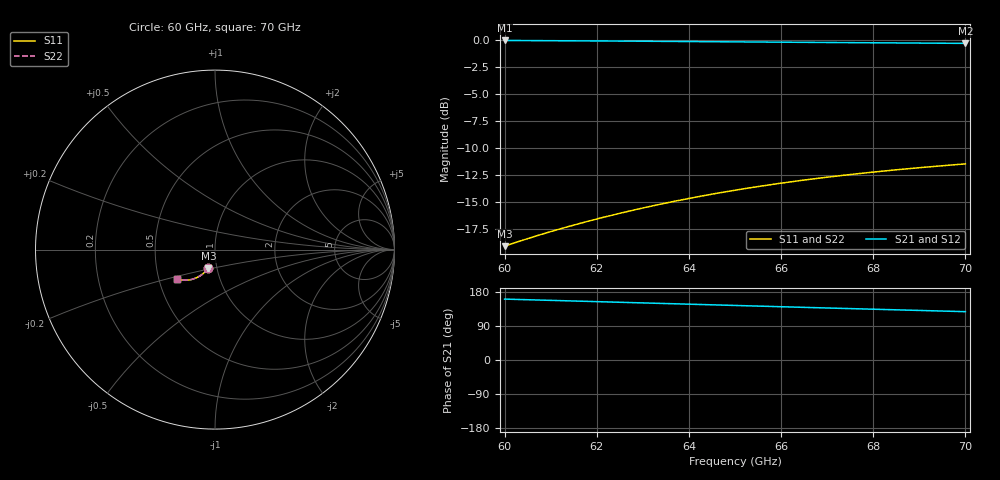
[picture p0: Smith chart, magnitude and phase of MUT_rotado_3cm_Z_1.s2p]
! TOUCHSTONE file generated by CST MICROWAVE STUDIO
! Date and time: Sat Feb 24 20:43:22 2024
! Project name: material_angular.cst
! Parameters = {Z=0; Y=2}
! Header version: 2018
! Port assignment regex: !\s*Touchstone port\s*([0-9]+)\s*=\s*(CST MWS port|CST DS port)\s*([0-9]+|Zmin|Zmax)\s*\(\"(.*)\"\)(\s*mode\s*([0-9]+))?.*
! Touchstone port assignment:
! Touchstone port 1 = CST MWS port 1 ("")
! Touchstone port 2 = CST MWS port 2 ("")
# GHz S MA R 376.7
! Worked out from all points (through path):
!   1001 points, 60 GHz to 70 GHz, reference 376.7 ohm
!   highest |S21| = -0.05 dB at 60 GHz (marker M1); lowest = -0.3 dB at 70 GHz (marker M2)
!   group delay of S21, straight-line fit = 9.23 ps
!   lowest |S11| = -19.1 dB at 60 GHz (marker M3), VSWR 1.25, Z = 343 - j72.9 ohm
!   |S11| at or under -10 dB: start of sweep to end of sweep
!   |S22| runs from -19.1 to -11.5 dB; largest |S21 - S12| = 0.00038
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60  0.1113 -109.3  0.9939 160.7  0.9937 160.7  0.1114 -109.2
60.05  0.1123 -109.5  0.9938 160.6  0.9936 160.6  0.1124 -109.4
60.45  0.1197 -110.9  0.9929 159.2  0.9927 159.2  0.1198 -110.7
60.87  0.1275 -112.4  0.9918 157.8  0.9918 157.8  0.1276 -112.0
61.26  0.1348 -113.7  0.9908 156.4  0.9909 156.5  0.1349 -113.3
61.67  0.1425 -115.1  0.9897 155.1  0.9899 155.1  0.1425 -114.7
62.07  0.15 -116.5  0.9886 153.7  0.9888 153.7  0.1499 -116.1
62.49  0.1578 -117.9  0.9873 152.3  0.9876 152.3  0.1577 -117.6
62.91  0.1655 -119.3  0.986 150.9  0.9864 150.9  0.1653 -119.0
63.34  0.1733 -120.7  0.9847 149.4  0.985 149.4  0.1731 -120.5
63.75  0.1806 -122.1  0.9833 148.0  0.9836 148.0  0.1805 -122.0
64.17  0.188 -123.5  0.9819 146.6  0.9822 146.6  0.1879 -123.4
64.59  0.1951 -124.8  0.9805 145.2  0.9807 145.2  0.1951 -124.8
65  0.2019 -126.1  0.9792 143.8  0.9792 143.8  0.2019 -126.2
65.4  0.2084 -127.4  0.9778 142.5  0.9777 142.5  0.2084 -127.5
65.81  0.2148 -128.8  0.9765 141.2  0.9763 141.2  0.2148 -128.9
66.67  0.2274 -131.5  0.9737 138.3  0.9735 138.3  0.2274 -131.7
67.48  0.2383 -134.2  0.9711 135.7  0.971 135.7  0.2383 -134.4
68.34  0.249 -137.0  0.9685 132.9  0.9686 132.9  0.2491 -137.2
69.27  0.2596 -140.1  0.9658 129.9  0.9659 129.9  0.2597 -140.2
69.95  0.2667 -142.3  0.9637 127.7  0.9639 127.7  0.2667 -142.3
70  0.2672 -142.5  0.9636 127.6  0.9637 127.6  0.2672 -142.4
